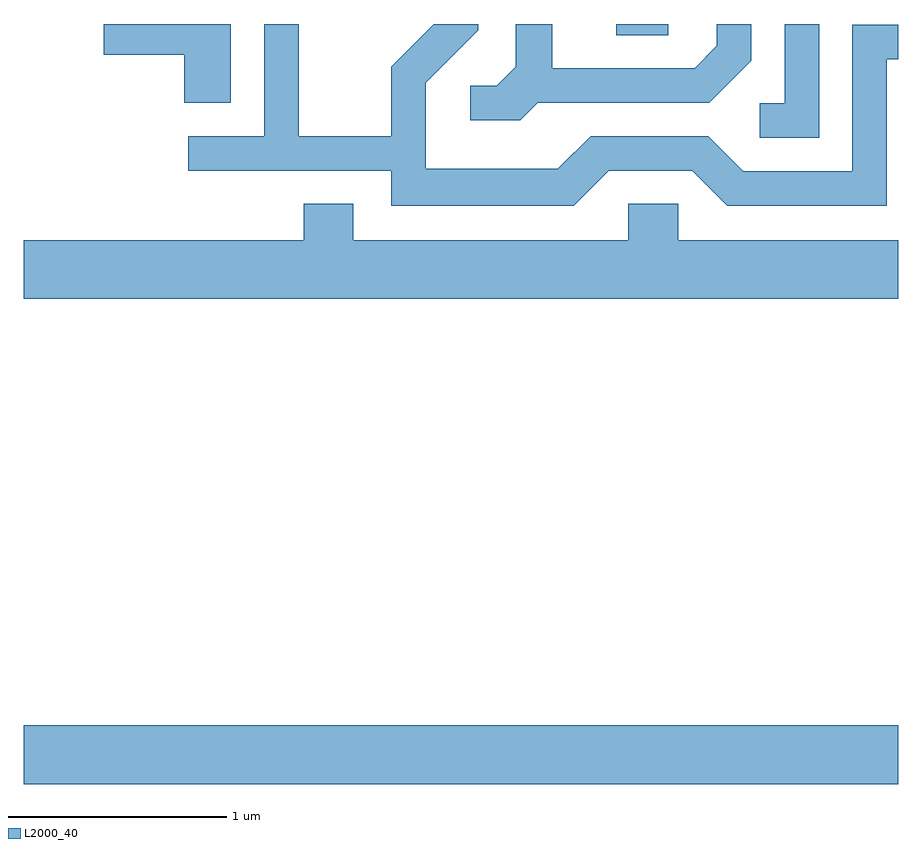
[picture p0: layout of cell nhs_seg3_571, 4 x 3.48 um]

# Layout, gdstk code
import gdstk
lib = gdstk.Library(unit=1e-6, precision=1e-09)
def R(c, l, rs):  # rectangles x0, y0, x1, y1
    for r in rs: c.add(gdstk.rectangle(r[:2], r[2:], *l))
def P(c, l, *ps):  # polygons
    for p in ps: c.add(gdstk.Polygon(p, *l))
L2000_40 = (2000, 40)

nhs_seg3_571 = lib.new_cell('nhs_seg3_571')
R(nhs_seg3_571, L2000_40, [(201.611,1170.416,205.611,1170.684), (204.321,1173.841,204.559,1173.892)])
P(nhs_seg3_571, L2000_40, [(203.962,1173.531),(204.747,1173.531),(204.939,1173.724),(204.939,1173.892),(204.781,1173.892),(204.781,1173.792),(204.679,1173.689),(204.029,1173.689),(204.029,1173.892),(203.861,1173.892),(203.861,1173.697),(203.774,1173.609),(203.653,1173.609),(203.653,1173.451),(203.882,1173.451)],
  [(205.249,1173.892),(205.091,1173.892),(205.091,1173.529),(204.978,1173.529),(204.978,1173.371),(205.249,1173.371)],
  [(202.559,1173.892),(201.976,1173.892),(201.976,1173.751),(202.346,1173.751),(202.346,1173.531),(202.559,1173.531)],
  [(204.287,1173.221),(204.669,1173.221),(204.829,1173.061),(205.559,1173.061),(205.559,1173.731),(205.611,1173.731),(205.611,1173.889),(205.401,1173.889),(205.401,1173.219),(204.902,1173.219),(204.742,1173.379),(204.204,1173.379),(204.054,1173.229),(203.449,1173.229),(203.449,1173.624),(203.689,1173.864),(203.689,1173.892),(203.486,1173.892),(203.291,1173.697),(203.291,1173.379),(202.869,1173.379),(202.869,1173.892),(202.711,1173.892),(202.711,1173.379),(202.363,1173.379),(202.363,1173.221),(203.291,1173.221),(203.291,1173.061),(204.127,1173.061)],
  [(205.611,1172.904),(204.604,1172.904),(204.604,1173.069),(204.376,1173.069),(204.376,1172.904),(203.119,1172.904),(203.119,1173.069),(202.891,1173.069),(202.891,1172.904),(201.611,1172.904),(201.611,1172.636),(205.611,1172.636)])

lib.write_gds('nhs_seg3_571.gds')
